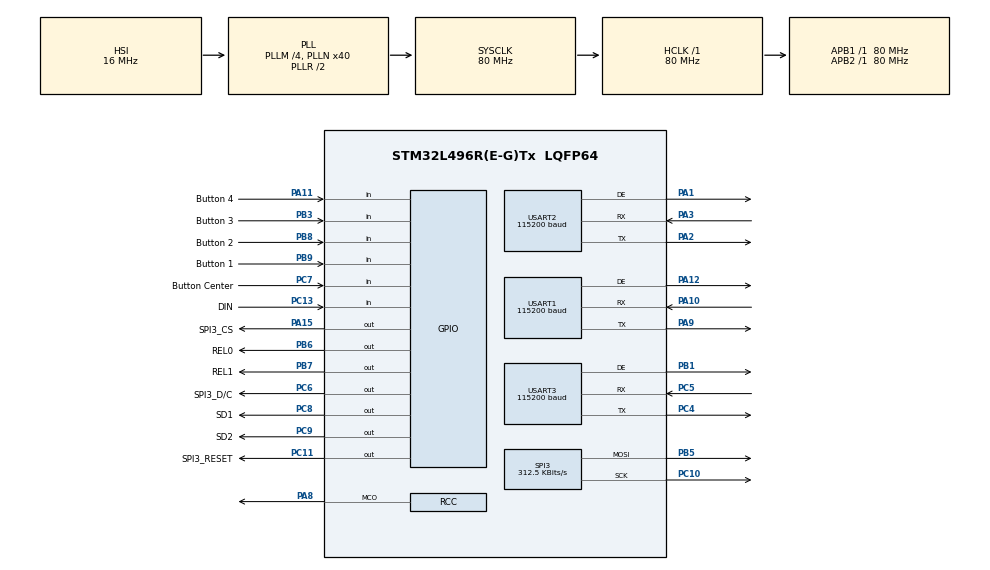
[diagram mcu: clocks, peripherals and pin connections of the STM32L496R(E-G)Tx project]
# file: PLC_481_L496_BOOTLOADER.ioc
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Dma.Request0=USART3_RX
Dma.Request1=USART3_TX
Dma.Request2=USART2_RX
Dma.Request3=USART2_TX
Dma.Request4=USART1_RX
Dma.Request5=USART1_TX
Dma.USART1_RX.4.Direction=DMA_PERIPH_TO_MEMORY
Dma.USART1_RX.4.Instance=DMA1_Channel5
Dma.USART1_RX.4.MemDataAlignment=DMA_MDATAALIGN_BYTE
Dma.USART1_RX.4.MemInc=DMA_MINC_ENABLE
Dma.USART1_RX.4.Mode=DMA_NORMAL
Dma.USART1_RX.4.PeriphDataAlignment=DMA_PDATAALIGN_BYTE
Dma.USART1_RX.4.PeriphInc=DMA_PINC_DISABLE
Dma.USART1_RX.4.Priority=DMA_PRIORITY_LOW
Dma.USART1_TX.5.Direction=DMA_MEMORY_TO_PERIPH
Dma.USART1_TX.5.Instance=DMA1_Channel4
Dma.USART1_TX.5.MemDataAlignment=DMA_MDATAALIGN_BYTE
Dma.USART1_TX.5.MemInc=DMA_MINC_ENABLE
Dma.USART1_TX.5.Mode=DMA_NORMAL
Dma.USART1_TX.5.PeriphDataAlignment=DMA_PDATAALIGN_BYTE
Dma.USART1_TX.5.PeriphInc=DMA_PINC_DISABLE
Dma.USART1_TX.5.Priority=DMA_PRIORITY_LOW
Dma.USART2_RX.2.Direction=DMA_PERIPH_TO_MEMORY
Dma.USART2_RX.2.Instance=DMA1_Channel6
Dma.USART2_RX.2.MemDataAlignment=DMA_MDATAALIGN_BYTE
Dma.USART2_RX.2.MemInc=DMA_MINC_ENABLE
Dma.USART2_RX.2.Mode=DMA_NORMAL
Dma.USART2_RX.2.PeriphDataAlignment=DMA_PDATAALIGN_BYTE
Dma.USART2_RX.2.PeriphInc=DMA_PINC_DISABLE
Dma.USART2_RX.2.Priority=DMA_PRIORITY_LOW
Dma.USART2_TX.3.Direction=DMA_MEMORY_TO_PERIPH
Dma.USART2_TX.3.Instance=DMA1_Channel7
Dma.USART2_TX.3.MemDataAlignment=DMA_MDATAALIGN_BYTE
Dma.USART2_TX.3.MemInc=DMA_MINC_ENABLE
Dma.USART2_TX.3.Mode=DMA_NORMAL
Dma.USART2_TX.3.PeriphDataAlignment=DMA_PDATAALIGN_BYTE
Dma.USART2_TX.3.PeriphInc=DMA_PINC_DISABLE
Dma.USART2_TX.3.Priority=DMA_PRIORITY_LOW
Dma.USART3_RX.0.Direction=DMA_PERIPH_TO_MEMORY
Dma.USART3_RX.0.Instance=DMA1_Channel3
Dma.USART3_RX.0.MemDataAlignment=DMA_MDATAALIGN_BYTE
Dma.USART3_RX.0.MemInc=DMA_MINC_ENABLE
Dma.USART3_RX.0.Mode=DMA_NORMAL
Dma.USART3_RX.0.PeriphDataAlignment=DMA_PDATAALIGN_BYTE
Dma.USART3_RX.0.PeriphInc=DMA_PINC_DISABLE
Dma.USART3_RX.0.Priority=DMA_PRIORITY_LOW
Dma.USART3_TX.1.Direction=DMA_MEMORY_TO_PERIPH
Dma.USART3_TX.1.Instance=DMA1_Channel2
Dma.USART3_TX.1.MemDataAlignment=DMA_MDATAALIGN_BYTE
Dma.USART3_TX.1.MemInc=DMA_MINC_ENABLE
Dma.USART3_TX.1.Mode=DMA_NORMAL
Dma.USART3_TX.1.PeriphDataAlignment=DMA_PDATAALIGN_BYTE
Dma.USART3_TX.1.PeriphInc=DMA_PINC_DISABLE
Dma.USART3_TX.1.Priority=DMA_PRIORITY_LOW
FREERTOS.Tasks01=defaultTask,0,128,StartDefaultTask,Default,NULL,Dynamic,NULL,NULL;myTask01,0,128,Lights_Task,Default,NULL,Dynamic,NULL,NULL;myTask02,0,128,Display_Task,Default,NULL,Dynamic,NULL,NULL;myTask03,0,128,Modbus_Receive_Task,Default,NULL,Dynamic,NULL,NULL;myTask04,0,128,Modbus_Transmit_Task,Default,NULL,Dynamic,NULL,NULL;myTask05,0,128,Update_Flash_Task,Default,NULL,Dynamic,NULL,NULL;myTask06,0,128,Jump_Task,Default,NULL,Dynamic,NULL,NULL
FREERTOS.configCHECK_FOR_STACK_OVERFLOW=1
FREERTOS.configGENERATE_RUN_TIME_STATS=1
FREERTOS.configTOTAL_HEAP_SIZE=10240
FREERTOS.configUSE_IDLE_HOOK=1
IWDG.Prescaler=IWDG_PRESCALER_32
IWDG.Reload=4095
Mcu.Family=STM32L4
Mcu.Name=STM32L496R(E-G)Tx
Mcu.Package=LQFP64
NVIC.DMA1_Channel2_IRQn=true\:5\:0\:false\:false\:true\:true\:false
NVIC.DMA1_Channel3_IRQn=true\:5\:0\:false\:false\:true\:true\:false
NVIC.DMA1_Channel4_IRQn=true\:5\:0\:false\:false\:true\:true\:false
NVIC.DMA1_Channel5_IRQn=true\:5\:0\:false\:false\:true\:true\:false
NVIC.DMA1_Channel6_IRQn=true\:5\:0\:false\:false\:true\:true\:false
NVIC.DMA1_Channel7_IRQn=true\:5\:0\:false\:false\:true\:true\:false
NVIC.PriorityGroup=NVIC_PRIORITYGROUP_4
NVIC.TIM1_UP_TIM16_IRQn=true\:0\:0\:false\:false\:true\:false\:false
NVIC.TIM6_DAC_IRQn=true\:5\:0\:false\:false\:true\:true\:true
NVIC.TIM7_IRQn=true\:5\:0\:false\:false\:true\:true\:true
NVIC.TimeBase=TIM1_UP_TIM16_IRQn
NVIC.TimeBaseIP=TIM1
NVIC.USART1_IRQn=true\:5\:0\:false\:false\:true\:true\:true
NVIC.USART2_IRQn=true\:5\:0\:false\:false\:true\:true\:true
NVIC.USART3_IRQn=true\:5\:0\:false\:false\:true\:true\:true
PA1.Mode=Hardware Flow Control (RS485)
PA1.Signal=USART2_DE
PA10.Mode=Asynchronous
PA10.Signal=USART1_RX
PA11.GPIO_Label=Button 4
PA11.GPIO_PuPd=GPIO_PULLUP
PA11.Signal=GPIO_Input
PA12.Mode=Hardware Flow Control (RS485)
PA12.Signal=USART1_DE
PA13\ (JTMS/SWDIO).Mode=Serial_Wire
PA13\ (JTMS/SWDIO).Signal=SYS_JTMS-SWDIO
PA14\ (JTCK/SWCLK).Mode=Serial_Wire
PA14\ (JTCK/SWCLK).Signal=SYS_JTCK-SWCLK
PA15\ (JTDI).GPIO_Label=SPI3_CS
PA15\ (JTDI).Signal=GPIO_Output
PA2.Mode=Asynchronous
PA2.Signal=USART2_TX
PA3.Mode=Asynchronous
PA3.Signal=USART2_RX
PA8.Mode=Clock-out
PA8.Signal=RCC_MCO
PA9.Mode=Asynchronous
PA9.Signal=USART1_TX
PB1.Mode=Hardware Flow Control (RS485)
PB1.Signal=USART3_DE
PB3\ (JTDO/TRACESWO).GPIO_Label=Button 3
PB3\ (JTDO/TRACESWO).GPIO_PuPd=GPIO_PULLUP
PB3\ (JTDO/TRACESWO).Signal=GPIO_Input
PB5.Mode=TX_Only_Simplex_Unidirect_Master
PB5.Signal=SPI3_MOSI
PB6.GPIO_Label=REL0
PB6.Signal=GPIO_Output
PB7.GPIO_Label=REL1
PB7.Signal=GPIO_Output
PB8.GPIO_Label=Button 2
PB8.GPIO_PuPd=GPIO_PULLUP
PB8.Signal=GPIO_Input
PB9.GPIO_Label=Button 1
PB9.GPIO_PuPd=GPIO_PULLUP
PB9.Signal=GPIO_Input
PC10.Mode=TX_Only_Simplex_Unidirect_Master
PC10.Signal=SPI3_SCK
PC11.GPIO_Label=SPI3_RESET
PC11.Signal=GPIO_Output
PC13.GPIO_Label=DIN
PC13.GPIO_PuPd=GPIO_PULLUP
PC13.Signal=GPIO_Input
PC14-OSC32_IN\ (PC14).Mode=LSE-External-Oscillator
PC14-OSC32_IN\ (PC14).Signal=RCC_OSC32_IN
PC15-OSC32_OUT\ (PC15).Mode=LSE-External-Oscillator
PC15-OSC32_OUT\ (PC15).Signal=RCC_OSC32_OUT
PC4.Mode=Asynchronous
PC4.Signal=USART3_TX
PC5.Mode=Asynchronous
PC5.Signal=USART3_RX
PC6.GPIO_Label=SPI3_D/C
PC6.Signal=GPIO_Output
PC7.GPIO_Label=Button Center
PC7.GPIO_PuPd=GPIO_PULLUP
PC7.Signal=GPIO_Input
PC8.GPIO_Label=SD1
PC8.Signal=GPIO_Output
PC9.GPIO_Label=SD2
PC9.Signal=GPIO_Output
PH0-OSC_IN\ (PH0).Mode=HSE-External-Oscillator
PH0-OSC_IN\ (PH0).Signal=RCC_OSC_IN
PH1-OSC_OUT\ (PH1).Mode=HSE-External-Oscillator
PH1-OSC_OUT\ (PH1).Signal=RCC_OSC_OUT
ProjectManager.HeapSize=0x200
ProjectManager.StackSize=0x400
ProjectManager.TargetToolchain=MDK-ARM V5
RCC.ADCFreq_Value=32000000
RCC.AHBFreq_Value=80000000
RCC.APB1Freq_Value=80000000
RCC.APB1TimFreq_Value=80000000
RCC.APB2Freq_Value=80000000
RCC.APB2TimFreq_Value=80000000
RCC.CortexFreq_Value=80000000
RCC.HCLKFreq_Value=80000000
RCC.HSE_VALUE=14745600
RCC.HSI48_VALUE=48000000
RCC.HSI_VALUE=16000000
RCC.MSI_VALUE=4000000
RCC.PLLM=4
RCC.PLLN=40
RCC.PLLSAI1N=16
RCC.PLLSourceVirtual=RCC_PLLSOURCE_HSI
RCC.RCC_MCO1Source=RCC_MCO1SOURCE_HSE
RCC.RCC_MCODiv=RCC_MCODIV_4
RCC.SYSCLKFreq_VALUE=80000000
RCC.SYSCLKSource=RCC_SYSCLKSOURCE_PLLCLK
RCC.UART5CLockSelection=RCC_UART5CLKSOURCE_HSI
RCC.USBFreq_Value=32000000
RCC.VCOOutputFreq_Value=160000000
SPI3.BaudRatePrescaler=SPI_BAUDRATEPRESCALER_256
SPI3.CLKPhase=SPI_PHASE_2EDGE
SPI3.CLKPolarity=SPI_POLARITY_HIGH
SPI3.CalculateBaudRate=312.5 KBits/s
SPI3.DataSize=SPI_DATASIZE_8BIT
SPI3.Direction=SPI_DIRECTION_2LINES
SPI3.Mode=SPI_MODE_MASTER
SPI3.VirtualType=VM_MASTER
TIM2.Period=0xffffffff
TIM2.Prescaler=8000
TIM6.Period=3124
TIM6.TIM_MasterOutputTrigger=TIM_TRGO_UPDATE
TIM7.Period=999
TIM7.Prescaler=8000-1
TIM7.TIM_MasterOutputTrigger=TIM_TRGO_UPDATE
USART1.AutoBaudRateEnableParam=UART_ADVFEATURE_AUTOBAUDRATE_DISABLE
USART1.BaudRate=115200
USART1.OverrunDisableParam=ADVFEATURE_OVERRUN_DISABLE
USART1.UART_DEAssertionTime=1
USART1.UART_DEDeassertionTime=1
USART1.VirtualMode-Asynchronous=VM_ASYNC
USART1.VirtualMode-Hardware\ Flow\ Control\ (RS485)=VM_ASYNC
USART2.AutoBaudRateEnableParam=UART_ADVFEATURE_AUTOBAUDRATE_DISABLE
USART2.BaudRate=115200
USART2.OverrunDisableParam=ADVFEATURE_OVERRUN_DISABLE
USART2.UART_DEAssertionTime=1
USART2.UART_DEDeassertionTime=1
USART2.VirtualMode-Asynchronous=VM_ASYNC
USART2.VirtualMode-Hardware\ Flow\ Control\ (RS485)=VM_ASYNC
USART3.AutoBaudRateEnableParam=UART_ADVFEATURE_AUTOBAUDRATE_DISABLE
USART3.BaudRate=115200
USART3.OverrunDisableParam=ADVFEATURE_OVERRUN_DISABLE
USART3.UART_DEAssertionTime=1
USART3.UART_DEDeassertionTime=1
USART3.VirtualMode-Asynchronous=VM_ASYNC
USART3.VirtualMode-Hardware\ Flow\ Control\ (RS485)=VM_ASYNC
VP_FREERTOS_VS_ENABLE.Mode=Enabled
VP_IWDG_VS_IWDG.Mode=IWDG_Activate
VP_SYS_VS_tim1.Mode=TIM1
VP_TIM2_VS_ClockSourceINT.Mode=Internal
VP_TIM6_VS_ClockSourceINT.Mode=Enable_Timer
VP_TIM7_VS_ClockSourceINT.Mode=Enable_Timer
board=custom

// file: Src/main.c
/**
  ******************************************************************************
  * @file           : main.c
  * @brief          : Main program body
  ******************************************************************************
  * This notice applies to any and all portions of this file
  * that are not between comment pairs USER CODE BEGIN and
  * USER CODE END. Other portions of this file, whether
  * inserted by the user or by software development tools
  * are owned by their respective copyright owners.
  *
  * Copyright (c) 2018 STMicroelectronics International N.V.
  * All rights reserved.
  *
  * Redistribution and use in source and binary forms, with or without
  * modification, are permitted, provided that the following conditions are met:
  *
  * 1. Redistribution of source code must retain the above copyright notice,
  *    this list of conditions and the following disclaimer.
  * 2. Redistributions in binary form must reproduce the above copyright notice,
  *    this list of conditions and the following disclaimer in the documentation
  *    and/or other materials provided with the distribution.
  * 3. Neither the name of STMicroelectronics nor the names of other
  *    contributors to this software may be used to endorse or promote products
  *    derived from this software without specific written permission.
  * 4. This software, including modifications and/or derivative works of this
  *    software, must execute solely and exclusively on microcontroller or
  *    microprocessor devices manufactured by or for STMicroelectronics.
  * 5. Redistribution and use of this software other than as permitted under
  *    this license is void and will automatically terminate your rights under
  *    this license.
  *
  * THIS SOFTWARE IS PROVIDED BY STMICROELECTRONICS AND CONTRIBUTORS "AS IS"
  * AND ANY EXPRESS, IMPLIED OR STATUTORY WARRANTIES, INCLUDING, BUT NOT
  * LIMITED TO, THE IMPLIED WARRANTIES OF MERCHANTABILITY, FITNESS FOR A
  * PARTICULAR PURPOSE AND NON-INFRINGEMENT OF THIRD PARTY INTELLECTUAL PROPERTY
  * RIGHTS ARE DISCLAIMED TO THE FULLEST EXTENT PERMITTED BY LAW. IN NO EVENT
  * SHALL STMICROELECTRONICS OR CONTRIBUTORS BE LIABLE FOR ANY DIRECT, INDIRECT,
  * INCIDENTAL, SPECIAL, EXEMPLARY, OR CONSEQUENTIAL DAMAGES (INCLUDING, BUT NOT
  * LIMITED TO, PROCUREMENT OF SUBSTITUTE GOODS OR SERVICES; LOSS OF USE, DATA,
  * OR PROFITS; OR BUSINESS INTERRUPTION) HOWEVER CAUSED AND ON ANY THEORY OF
  * LIABILITY, WHETHER IN CONTRACT, STRICT LIABILITY, OR TORT (INCLUDING
  * NEGLIGENCE OR OTHERWISE) ARISING IN ANY WAY OUT OF THE USE OF THIS SOFTWARE,
  * EVEN IF ADVISED OF THE POSSIBILITY OF SUCH DAMAGE.
  *
  ******************************************************************************
  */
#include "main.h"
#include "stm32l4xx_hal.h"
#include "cmsis_os.h"
#include "dma.h"
#include "iwdg.h"
#include "spi.h"
#include "tim.h"
#include "usart.h"
#include "gpio.h"

/* USER CODE BEGIN PV */
/* Private variables ---------------------------------------------------------*/

/* USER CODE END PV */

void SystemClock_Config(void);
void MX_FREERTOS_Init(void);

/* USER CODE BEGIN PFP */
/* Private function prototypes -----------------------------------------------*/

/* USER CODE END PFP */

int main(void)
{
	__disable_irq();

  /* MCU Configuration----------------------------------------------------------*/

  /* Reset of all peripherals, Initializes the Flash interface and the Systick. */
  HAL_Init();

  /* Configure the system clock */
  SystemClock_Config();

  /* Initialize all configured peripherals */
  MX_GPIO_Init();
  MX_DMA_Init();
  MX_SPI3_Init();
  MX_USART1_UART_Init();
  MX_USART2_UART_Init();
  MX_USART3_UART_Init();
  MX_TIM6_Init();
  MX_TIM7_Init();
  MX_TIM2_Init();
  MX_IWDG_Init();
  /* USER CODE BEGIN 2 */

	HAL_TIM_Base_Start_IT(&htim6);
	HAL_TIM_Base_Start_IT(&htim7);

	__HAL_UART_ENABLE_IT(&huart1, UART_IT_RXNE);
	__HAL_UART_ENABLE_IT(&huart2, UART_IT_RXNE);
	__HAL_UART_ENABLE_IT(&huart3, UART_IT_RXNE);

	//__HAL_FLASH_CLEAR_FLAG(FLASH_FLAG_ALL_ERRORS);
  /* USER CODE END 2 */

  /* Call init function for freertos objects (in freertos.c) */
  MX_FREERTOS_Init();

  /* Start scheduler */
  osKernelStart();

  /* We should never get here as control is now taken by the scheduler */

  /* Infinite loop */
  while (1)
  {

  }

}

void SystemClock_Config(void)
{

  RCC_OscInitTypeDef RCC_OscInitStruct;
  RCC_ClkInitTypeDef RCC_ClkInitStruct;
  RCC_PeriphCLKInitTypeDef PeriphClkInit;

    /**Initializes the CPU, AHB and APB busses clocks
    */
  RCC_OscInitStruct.OscillatorType = RCC_OSCILLATORTYPE_HSI|RCC_OSCILLATORTYPE_LSI
                              |RCC_OSCILLATORTYPE_HSE;
  RCC_OscInitStruct.HSEState = RCC_HSE_ON;
  RCC_OscInitStruct.HSIState = RCC_HSI_ON;
  RCC_OscInitStruct.HSICalibrationValue = 64;
  RCC_OscInitStruct.LSIState = RCC_LSI_ON;
  RCC_OscInitStruct.PLL.PLLState = RCC_PLL_ON;
  RCC_OscInitStruct.PLL.PLLSource = RCC_PLLSOURCE_HSI;
  RCC_OscInitStruct.PLL.PLLM = 4;
  RCC_OscInitStruct.PLL.PLLN = 40;
  RCC_OscInitStruct.PLL.PLLP = RCC_PLLP_DIV2;
  RCC_OscInitStruct.PLL.PLLQ = RCC_PLLQ_DIV2;
  RCC_OscInitStruct.PLL.PLLR = RCC_PLLR_DIV2;
  if (HAL_RCC_OscConfig(&RCC_OscInitStruct) != HAL_OK)
  {
    _Error_Handler(__FILE__, __LINE__);
  }

    /**Initializes the CPU, AHB and APB busses clocks
    */
  RCC_ClkInitStruct.ClockType = RCC_CLOCKTYPE_HCLK|RCC_CLOCKTYPE_SYSCLK
                              |RCC_CLOCKTYPE_PCLK1|RCC_CLOCKTYPE_PCLK2;
  RCC_ClkInitStruct.SYSCLKSource = RCC_SYSCLKSOURCE_PLLCLK;
  RCC_ClkInitStruct.AHBCLKDivider = RCC_SYSCLK_DIV1;
  RCC_ClkInitStruct.APB1CLKDivider = RCC_HCLK_DIV1;
  RCC_ClkInitStruct.APB2CLKDivider = RCC_HCLK_DIV1;

  if (HAL_RCC_ClockConfig(&RCC_ClkInitStruct, FLASH_LATENCY_4) != HAL_OK)
  {
    _Error_Handler(__FILE__, __LINE__);
  }

  PeriphClkInit.PeriphClockSelection = RCC_PERIPHCLK_USART1|RCC_PERIPHCLK_USART2
                              |RCC_PERIPHCLK_USART3;
  PeriphClkInit.Usart1ClockSelection = RCC_USART1CLKSOURCE_PCLK2;
  PeriphClkInit.Usart2ClockSelection = RCC_USART2CLKSOURCE_PCLK1;
  PeriphClkInit.Usart3ClockSelection = RCC_USART3CLKSOURCE_PCLK1;
  if (HAL_RCCEx_PeriphCLKConfig(&PeriphClkInit) != HAL_OK)
  {
    _Error_Handler(__FILE__, __LINE__);
  }

  HAL_RCC_MCOConfig(RCC_MCO1, RCC_MCO1SOURCE_HSE, RCC_MCODIV_4);

    /**Configure the main internal regulator output voltage
    */
  if (HAL_PWREx_ControlVoltageScaling(PWR_REGULATOR_VOLTAGE_SCALE1) != HAL_OK)
  {
    _Error_Handler(__FILE__, __LINE__);
  }

    /**Configure the Systick interrupt time
    */
  HAL_SYSTICK_Config(HAL_RCC_GetHCLKFreq()/1000);

    /**Configure the Systick
    */
  HAL_SYSTICK_CLKSourceConfig(SYSTICK_CLKSOURCE_HCLK);

  /* SysTick_IRQn interrupt configuration */
  HAL_NVIC_SetPriority(SysTick_IRQn, 15, 0);
}

void HAL_TIM_PeriodElapsedCallback(TIM_HandleTypeDef *htim)
{
  if (htim->Instance == TIM1) {
    HAL_IncTick();
  }
}

void _Error_Handler(char *file, int line)
{
  while(1)
  {
  }
}

/************************ (C) COPYRIGHT STMicroelectronics *****END OF FILE****/

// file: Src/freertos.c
/* USER CODE BEGIN Header */
/**
  ******************************************************************************
  * File Name          : freertos.c
  * Description        : Code for freertos applications
  ******************************************************************************
  * This notice applies to any and all portions of this file
  * that are not between comment pairs USER CODE BEGIN and
  * USER CODE END. Other portions of this file, whether
  * inserted by the user or by software development tools
  * are owned by their respective copyright owners.
  *
  * Copyright (c) 2018 STMicroelectronics International N.V.
  * All rights reserved.
  *
  * Redistribution and use in source and binary forms, with or without
  * modification, are permitted, provided that the following conditions are met:
  *
  * 1. Redistribution of source code must retain the above copyright notice,
  *    this list of conditions and the following disclaimer.
  * 2. Redistributions in binary form must reproduce the above copyright notice,
  *    this list of conditions and the following disclaimer in the documentation
  *    and/or other materials provided with the distribution.
  * 3. Neither the name of STMicroelectronics nor the names of other
  *    contributors to this software may be used to endorse or promote products
  *    derived from this software without specific written permission.
  * 4. This software, including modifications and/or derivative works of this
  *    software, must execute solely and exclusively on microcontroller or
  *    microprocessor devices manufactured by or for STMicroelectronics.
  * 5. Redistribution and use of this software other than as permitted under
  *    this license is void and will automatically terminate your rights under
  *    this license.
  *
  * THIS SOFTWARE IS PROVIDED BY STMICROELECTRONICS AND CONTRIBUTORS "AS IS"
  * AND ANY EXPRESS, IMPLIED OR STATUTORY WARRANTIES, INCLUDING, BUT NOT
  * LIMITED TO, THE IMPLIED WARRANTIES OF MERCHANTABILITY, FITNESS FOR A
  * PARTICULAR PURPOSE AND NON-INFRINGEMENT OF THIRD PARTY INTELLECTUAL PROPERTY
  * RIGHTS ARE DISCLAIMED TO THE FULLEST EXTENT PERMITTED BY LAW. IN NO EVENT
  * SHALL STMICROELECTRONICS OR CONTRIBUTORS BE LIABLE FOR ANY DIRECT, INDIRECT,
  * INCIDENTAL, SPECIAL, EXEMPLARY, OR CONSEQUENTIAL DAMAGES (INCLUDING, BUT NOT
  * LIMITED TO, PROCUREMENT OF SUBSTITUTE GOODS OR SERVICES; LOSS OF USE, DATA,
  * OR PROFITS; OR BUSINESS INTERRUPTION) HOWEVER CAUSED AND ON ANY THEORY OF
  * LIABILITY, WHETHER IN CONTRACT, STRICT LIABILITY, OR TORT (INCLUDING
  * NEGLIGENCE OR OTHERWISE) ARISING IN ANY WAY OUT OF THE USE OF THIS SOFTWARE,
  * EVEN IF ADVISED OF THE POSSIBILITY OF SUCH DAMAGE.
  *
  ******************************************************************************
  */
/* USER CODE END Header */

#include "FreeRTOS.h"
#include "task.h"
#include "main.h"
#include "cmsis_os.h"

/* USER CODE BEGIN Includes */
#include "gpio.h"
#include "Task_manager.h"
#include "Flash_manager.h"
#include "usart.h"
#include "fonts.h"
#include "iwdg.h"
#include "stm32l4xx_hal_flash.h"
/* USER CODE END Includes */

/* USER CODE BEGIN Variables */
xSemaphoreHandle 	Semaphore_Modbus_Rx, Semaphore_Modbus_Tx, Semaphore_Update, Semaphore_Jump;

extern FontDef font_7x12_RU;
extern FontDef font_7x12;
extern FontDef font_8x15_RU;
extern FontDef font_8x14;
extern FontDef font_5x10_RU;
extern FontDef font_5x10;

uint8_t error_crc = 0;
uint8_t worker_status = 0;
uint8_t status = 0;

uint8_t status1 = 0;
uint8_t status2 = 0;
uint8_t status3 = 0;

volatile uint8_t boot_transmitBuffer[8];
volatile uint8_t boot_receiveBuffer[256];

volatile uint32_t byte_size = 0;
volatile uint16_t crc_data = 0;
volatile uint16_t byte_bunch = 0;
volatile uint32_t byte_counter = 0;
volatile uint16_t crc_flash = 0;
volatile uint64_t data = 0;

/* USER CODE END Variables */
osThreadId defaultTaskHandle;
osThreadId myTask01Handle;
osThreadId myTask02Handle;
osThreadId myTask03Handle;
osThreadId myTask04Handle;
osThreadId myTask05Handle;
osThreadId myTask06Handle;

/* USER CODE BEGIN FunctionPrototypes */
void JumpToApplication(uint32_t ADDRESS);
/* USER CODE END FunctionPrototypes */

void StartDefaultTask(void const * argument);
void Lights_Task(void const * argument);
void Display_Task(void const * argument);
void Modbus_Receive_Task(void const * argument);
void Modbus_Transmit_Task(void const * argument);
void Update_Flash_Task(void const * argument);
void Jump_Task(void const * argument);

void MX_FREERTOS_Init(void); /* (MISRA C 2004 rule 8.1) */

/* Hook prototypes */
void configureTimerForRunTimeStats(void);
unsigned long getRunTimeCounterValue(void);
void vApplicationIdleHook(void);
void vApplicationStackOverflowHook(xTaskHandle xTask, signed char *pcTaskName);

/* USER CODE BEGIN 1 */
/* Functions needed when configGENERATE_RUN_TIME_STATS is on */
__weak void configureTimerForRunTimeStats(void)
{

}

__weak unsigned long getRunTimeCounterValue(void)
{
return 0;
}
/* USER CODE END 1 */

/* USER CODE BEGIN 2 */
__weak void vApplicationIdleHook( void )
{
   /* vApplicationIdleHook() will only be called if configUSE_IDLE_HOOK is set
   to 1 in FreeRTOSConfig.h. It will be called on each iteration of the idle
   task. It is essential that code added to this hook function never attempts
   to block in any way (for example, call xQueueReceive() with a block time
   specified, or call vTaskDelay()). If the application makes use of the
   vTaskDelete() API function (as this demo application does) then it is also
   important that vApplicationIdleHook() is permitted to return to its calling
   function, because it is the responsibility of the idle task to clean up
   memory allocated by the kernel to any task that has since been deleted. */
}
/* USER CODE END 2 */

/* USER CODE BEGIN 4 */
__weak void vApplicationStackOverflowHook(xTaskHandle xTask, signed char *pcTaskName)
{
   /* Run time stack overflow checking is performed if
   configCHECK_FOR_STACK_OVERFLOW is defined to 1 or 2. This hook function is
   called if a stack overflow is detected. */
}
/* USER CODE END 4 */

void MX_FREERTOS_Init(void) {

  /* USER CODE BEGIN RTOS_SEMAPHORES */
		vSemaphoreCreateBinary(Semaphore_Modbus_Rx);
		vSemaphoreCreateBinary(Semaphore_Modbus_Tx);
		vSemaphoreCreateBinary(Semaphore_Update);
		vSemaphoreCreateBinary(Semaphore_Jump);
  /* USER CODE END RTOS_SEMAPHORES */

  /* Create the thread(s) */
  /* definition and creation of defaultTask */
  osThreadDef(defaultTask, StartDefaultTask, osPriorityIdle, 0, 128);
  defaultTaskHandle = osThreadCreate(osThread(defaultTask), NULL);

  /* definition and creation of myTask01 */
  osThreadDef(myTask01, Lights_Task, osPriorityNormal, 0, 128);
  myTask01Handle = osThreadCreate(osThread(myTask01), NULL);

  /* definition and creation of myTask02 */
  osThreadDef(myTask02, Display_Task, osPriorityNormal, 0, 128);
  myTask02Handle = osThreadCreate(osThread(myTask02), NULL);

  /* definition and creation of myTask03 */
  osThreadDef(myTask03, Modbus_Receive_Task, osPriorityNormal, 0, 128);
  myTask03Handle = osThreadCreate(osThread(myTask03), NULL);

  /* definition and creation of myTask04 */
  osThreadDef(myTask04, Modbus_Transmit_Task, osPriorityNormal, 0, 128);
  myTask04Handle = osThreadCreate(osThread(myTask04), NULL);

  /* definition and creation of myTask05 */
  osThreadDef(myTask05, Update_Flash_Task, osPriorityNormal, 0, 128);
  myTask05Handle = osThreadCreate(osThread(myTask05), NULL);

  /* definition and creation of myTask06 */
  osThreadDef(myTask06, Jump_Task, osPriorityNormal, 0, 128);
  myTask06Handle = osThreadCreate(osThread(myTask06), NULL);

}

void StartDefaultTask(void const * argument)
{

  /* USER CODE BEGIN StartDefaultTask */

	Task_manager_Init();
  /* Infinite loop */
  for(;;)
  {
		Task_manager_LoadCPU();
		HAL_IWDG_Refresh(&hiwdg);
    osDelay(1000);
  }
  /* USER CODE END StartDefaultTask */
}

void Lights_Task(void const * argument)
{
  /* USER CODE BEGIN Lights_Task */
  /* Infinite loop */
  for(;;)
  {
    osDelay(1000);
  }
  /* USER CODE END Lights_Task */
}

void Display_Task(void const * argument)
{
  /* USER CODE BEGIN Display_Task */
	uint8_t temp_stat = 0;
	char buffer[64];
	// CS# (This pin is the chip select input. (active LOW))
	HAL_GPIO_WritePin(GPIOB, GPIO_PIN_12, GPIO_PIN_SET);

	ssd1306_Init();

  /* Infinite loop */
  for(;;)
  {

				if(error_crc == 1)
				{
					ssd1306_Fill(0);
					ssd1306_SetCursor(0,0);
					ssd1306_WriteString("Ошибка",font_8x15_RU,1);
					ssd1306_SetCursor(0,15);
					ssd1306_WriteString("CRC",font_8x14,1);

//					ssd1306_SetCursor(30,15);
//					snprintf(buffer, sizeof buffer, "%d", boot_timer_counter);
//					ssd1306_WriteString(buffer,font_8x14,1);
					ssd1306_UpdateScreen();
				}

				if(error_crc == 0 && worker_status == 0)
				{
					ssd1306_Fill(0);
					ssd1306_SetCursor(0,0);
					ssd1306_WriteString("Загруз",font_8x15_RU,1);
					ssd1306_WriteString("-",font_8x14,1);
					ssd1306_SetCursor(0,15);
					ssd1306_WriteString("чик",font_8x15_RU,1);

//					ssd1306_SetCursor(0,30);
					snprintf(buffer, sizeof buffer, " %.01f", VERSION);
					ssd1306_WriteString(buffer,font_8x14,1);

//					ssd1306_SetCursor(30,15);
//					snprintf(buffer, sizeof buffer, "%d", boot_timer_counter);
//					ssd1306_WriteString(buffer,font_8x14,1);
					ssd1306_UpdateScreen();
				}

				if (worker_status == 1 || worker_status == 2 || worker_status == 3)
				{
					ssd1306_Fill(0);
					ssd1306_SetCursor(0,0);
					ssd1306_WriteString("Обнов",font_8x15_RU,1);
					ssd1306_WriteString("-",font_8x14,1);
					ssd1306_SetCursor(0,15);
					ssd1306_WriteString("ление",font_8x15_RU,1);
					ssd1306_SetCursor(0,30);
					ssd1306_WriteString("ПО",font_8x15_RU,1);
					ssd1306_WriteString("...",font_8x14,1);

					ssd1306_UpdateScreen();
				}

				if (worker_status == 4)
				{
					ssd1306_Fill(0);
					ssd1306_SetCursor(0,15);
					ssd1306_WriteString("УСПЕШНО",font_8x15_RU,1);

					ssd1306_UpdateScreen();
				}

			osDelay(100);
  }
  /* USER CODE END Display_Task */
}

void Modbus_Receive_Task(void const * argument)
{
  /* USER CODE BEGIN Modbus_Receive_Task */

  /* Infinite loop */
  for(;;)
  {
		xSemaphoreTake( Semaphore_Modbus_Rx, portMAX_DELAY );

		__HAL_UART_CLEAR_IT(&huart2, UART_CLEAR_IDLEF);
		__HAL_UART_ENABLE_IT(&huart2, UART_IT_IDLE);

		HAL_UART_DMAStop(&huart2);

		HAL_UART_Receive_DMA(&huart2, boot_receiveBuffer, 8);

		//boot_timer_counter = 0;

		xSemaphoreGive( Semaphore_Update );

  }
  /* USER CODE END Modbus_Receive_Task */
}

void Modbus_Transmit_Task(void const * argument)
{
  /* USER CODE BEGIN Modbus_Transmit_Task */

  /* Infinite loop */
  for(;;)
  {
		xSemaphoreTake( Semaphore_Modbus_Tx, portMAX_DELAY );

  }
  /* USER CODE END Modbus_Transmit_Task */
}

void Update_Flash_Task(void const * argument)
{
  /* USER CODE BEGIN Update_Flash_Task */

  /* Infinite loop */
  for(;;)
  {
		xSemaphoreTake( Semaphore_Update, portMAX_DELAY );

	  data = ((uint64_t) boot_receiveBuffer[0]) +
					((uint64_t) (boot_receiveBuffer[1]) << 8) +
					((uint64_t) (boot_receiveBuffer[2]) << 16) +
					((uint64_t) (boot_receiveBuffer[3]) << 24) +
					((uint64_t) (boot_receiveBuffer[4]) << 32) +
					((uint64_t) (boot_receiveBuffer[5]) << 40) +
					((uint64_t) (boot_receiveBuffer[6]) << 48) +
					((uint64_t) (boot_receiveBuffer[7]) << 56);

		//Programm
		if (worker_status == 3)
		{
				status = HAL_FLASH_Unlock();
				//__HAL_FLASH_CLEAR_FLAG(FLASH_FLAG_PGSERR);
				status = HAL_FLASH_Program(FLASH_TYPEPROGRAM_DOUBLEWORD, (APP_START_ADDRESS) + 8*byte_bunch, data);

				HAL_FLASH_Lock();

				byte_bunch++; byte_counter += 8;

				if (byte_counter >= byte_size)
				{
					xSemaphoreGive( Semaphore_Jump );
				}

		}

		//Get crc
		if (worker_status == 2)
		{

//				byte_size = (uint32_t) boot_receiveBuffer[0] + (boot_receiveBuffer[1] << 8) + (boot_receiveBuffer[2] << 16) + (boot_receiveBuffer[3] << 32);
//				crc_data = (uint32_t) boot_receiveBuffer[4] + (boot_receiveBuffer[5] << 8) + (boot_receiveBuffer[6] << 16) + (boot_receiveBuffer[7] << 32);

				crc_data = data;
				worker_status = 3;
				byte_counter = 0;
				byte_bunch = 0;
				error_crc = 0;
		}

		//Get size
		if (worker_status == 1)
		{
				byte_size = data >> 32;
				worker_status = 2;
				byte_counter = 0;
				byte_bunch = 0;
				error_crc = 0;
		}

		//Erase
		if (boot_receiveBuffer[0] == 0x04 &&
				boot_receiveBuffer[1] == 0x08 &&
				boot_receiveBuffer[2] == 0x01 &&
				boot_receiveBuffer[3] == 0x00 &&
				boot_receiveBuffer[4] == 0x00 &&
				boot_receiveBuffer[5] == 0x00 &&
				boot_receiveBuffer[6] == 0x00 &&
				boot_receiveBuffer[7] == 0x00 && status == 0)
		{
				worker_status = 1;

				FLASH_EraseInitTypeDef EraseInitStruct;
				uint32_t PAGEError = 0;
				EraseInitStruct.TypeErase = FLASH_TYPEERASE_PAGES;
				EraseInitStruct.Banks = 1;
				EraseInitStruct.Page = 32;
				EraseInitStruct.NbPages = 40;

				status = HAL_FLASH_Unlock();
				osDelay(5);
				__HAL_FLASH_CLEAR_FLAG(FLASH_FLAG_PGSERR);

				status = HAL_FLASHEx_Erase(&EraseInitStruct,&PAGEError);
				//status = HAL_FLASH_GetError();

				HAL_FLASH_Lock();

		}

		//Зажечь светодиод
		HAL_GPIO_WritePin(GPIOC, SD2_Pin, GPIO_PIN_SET);
		osDelay(1);
		HAL_GPIO_WritePin(GPIOC, SD2_Pin, GPIO_PIN_RESET);

  }

  /* USER CODE END Update_Flash_Task */
}

void Jump_Task(void const * argument)
{
  /* USER CODE BEGIN Jump_Task */
  /* Infinite loop */
  for(;;)
  {
		xSemaphoreTake( Semaphore_Jump, portMAX_DELAY );

					crc_flash = flash_crc16(APP_START_ADDRESS, byte_size);

					if (crc_flash == crc_data)
					{

						FLASH_EraseInitTypeDef EraseInitStruct;
						uint32_t PAGEError = 0;
						EraseInitStruct.TypeErase = FLASH_TYPEERASE_PAGES;
						EraseInitStruct.Banks = 1;
						EraseInitStruct.Page = 7;
						EraseInitStruct.NbPages = 1;

						status = HAL_FLASH_Unlock();
						__HAL_FLASH_CLEAR_FLAG(FLASH_FLAG_PGSERR);
						status1 = HAL_FLASHEx_Erase(&EraseInitStruct,&PAGEError);
						osDelay(5);

						status2 = HAL_FLASH_Program(FLASH_TYPEPROGRAM_DOUBLEWORD, APP_CRC_ADR, crc_data);
						osDelay(5);

						status3 = HAL_FLASH_Program(FLASH_TYPEPROGRAM_DOUBLEWORD, APP_SIZE, byte_size);
						osDelay(5);

						HAL_FLASH_Lock();

						worker_status = 4;
						osDelay(3000);

						JumpToApplication(APP_START_ADDRESS);
					}
					else
					{
//						worker_status = 0;
//						byte_counter = 0;
//						byte_bunch = 0;
//						error_crc = 1;

					}

  }
  /* USER CODE END Jump_Task */
}

/* USER CODE BEGIN Application */
void JumpToApplication(uint32_t ADDRESS)
{
		typedef  void (*pFunction)(void);
		uint32_t  JumpAddress = *(__IO uint32_t*)(ADDRESS + 4);
    pFunction Jump = (pFunction)JumpAddress;

    HAL_DeInit();

    __set_CONTROL(0);
    __set_MSP(*(__IO uint32_t*) ADDRESS);
		SCB->VTOR = ADDRESS;
		Jump();
}
/* USER CODE END Application */

/************************ (C) COPYRIGHT STMicroelectronics *****END OF FILE****/
